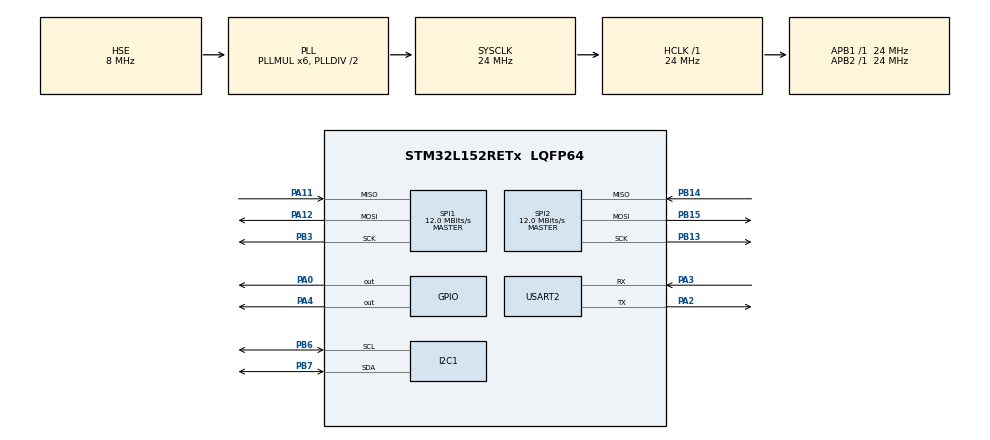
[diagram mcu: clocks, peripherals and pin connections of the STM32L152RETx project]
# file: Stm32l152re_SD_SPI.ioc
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Mcu.Family=STM32L1
Mcu.Name=STM32L152RETx
Mcu.Package=LQFP64
NVIC.PriorityGroup=NVIC_PRIORITYGROUP_4
PA0-WKUP1.Signal=GPIO_Output
PA11.Mode=Full_Duplex_Master
PA11.Signal=SPI1_MISO
PA12.Mode=Full_Duplex_Master
PA12.Signal=SPI1_MOSI
PA13.Mode=Serial_Wire
PA13.Signal=SYS_JTMS-SWDIO
PA14.Mode=Serial_Wire
PA14.Signal=SYS_JTCK-SWCLK
PA2.Mode=Asynchronous
PA2.Signal=USART2_TX
PA3.Mode=Asynchronous
PA3.Signal=USART2_RX
PA4.Signal=GPIO_Output
PB13.Mode=Full_Duplex_Master
PB13.Signal=SPI2_SCK
PB14.Mode=Full_Duplex_Master
PB14.Signal=SPI2_MISO
PB15.Mode=Full_Duplex_Master
PB15.Signal=SPI2_MOSI
PB3.Mode=Full_Duplex_Master
PB3.Signal=SPI1_SCK
PB6.Mode=I2C
PB6.Signal=I2C1_SCL
PB7.Mode=I2C
PB7.Signal=I2C1_SDA
PH0-OSC_IN.Mode=HSE-External-Clock-Source
PH0-OSC_IN.Signal=RCC_OSC_IN
ProjectManager.HeapSize=0x200
ProjectManager.StackSize=0x400
ProjectManager.TargetToolchain=STM32CubeIDE
RCC.48MHZClocksFreq_Value=24000000
RCC.AHBFreq_Value=24000000
RCC.APB1Freq_Value=24000000
RCC.APB1TimFreq_Value=24000000
RCC.APB2Freq_Value=24000000
RCC.APB2TimFreq_Value=24000000
RCC.HCLKFreq_Value=24000000
RCC.HSE_VALUE=8000000
RCC.HSI_VALUE=16000000
RCC.LSE_VALUE=32768
RCC.MSI_VALUE=2097000
RCC.PLLMUL=RCC_PLL_MUL6
RCC.PLLSourceVirtual=RCC_PLLSOURCE_HSE
RCC.SYSCLKFreq_VALUE=24000000
RCC.SYSCLKSource=RCC_SYSCLKSOURCE_PLLCLK
RCC.VCOOutputFreq_Value=48000000
SPI1.CalculateBaudRate=12.0 MBits/s
SPI1.Direction=SPI_DIRECTION_2LINES
SPI1.Mode=SPI_MODE_MASTER
SPI1.VirtualType=VM_MASTER
SPI2.CalculateBaudRate=12.0 MBits/s
SPI2.Direction=SPI_DIRECTION_2LINES
SPI2.Mode=SPI_MODE_MASTER
SPI2.VirtualType=VM_MASTER
USART2.VirtualMode=VM_ASYNC
VP_FATFS_VS_Generic.Mode=User_defined
board=custom

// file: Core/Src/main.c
/* USER CODE BEGIN Header */
/**
  ******************************************************************************
  * @file           : main.c
  * @brief          : Main program body
  ******************************************************************************
  * @attention
  *
  * <h2><center>&copy; Copyright (c) 2020 STMicroelectronics.
  * All rights reserved.</center></h2>
  *
  * This software component is licensed by ST under BSD 3-Clause license,
  * the "License"; You may not use this file except in compliance with the
  * License. You may obtain a copy of the License at:
  *                        opensource.org/licenses/BSD-3-Clause
  *
  ******************************************************************************
  */
/* USER CODE END Header */

#include "main.h"
#include "fatfs.h"

/* USER CODE BEGIN Includes */
#include <string.h>
#include <stdio.h>
#include <stdint.h>
#include "ArduCAM.h"
#include "icm20948.h"
/* USER CODE END Includes */

I2C_HandleTypeDef hi2c1;

SPI_HandleTypeDef hspi1;
SPI_HandleTypeDef hspi2;

UART_HandleTypeDef huart2;

/* USER CODE BEGIN PV */
axises my_gyro;
axises my_accel;
axises my_mag;

FATFS fs;
FATFS *pfs;
FIL fil;
FRESULT fres;
DWORD fre_clust;
uint32_t totalSpace, freeSpace;
char buffer[100];
char bufferRxBuffer[100];
char bufferRx[100];
/* USER CODE END PV */

void SystemClock_Config(void);
static void MX_GPIO_Init(void);
static void MX_SPI1_Init(void);
static void MX_USART2_UART_Init(void);
static void MX_I2C1_Init(void);
static void MX_SPI2_Init(void);
/* USER CODE BEGIN PFP */
int _write(int file, char *data, int len) {
    HAL_UART_Transmit(&huart2, (uint8_t*)data, len, HAL_MAX_DELAY);
    return len;
}
/* USER CODE END PFP */

/* USER CODE BEGIN 0 */
void SD_Select(void) {
    HAL_GPIO_WritePin(GPIOA, GPIO_PIN_0, GPIO_PIN_RESET); // CS low
}

void SD_Deselect(void) {
   HAL_GPIO_WritePin(GPIOA, GPIO_PIN_0, GPIO_PIN_SET); // CS high
}
void capture_and_store_image(uint8_t *buffer, uint32_t buffer_size);
void capture_and_store_video(void);
void setup_sd_card(void);
void capture_and_store_image1(void);
/* USER CODE END 0 */

int main(void)
{
  /* USER CODE BEGIN 1 */
	//uint32_t wbytes; /* File write counts */
  /* USER CODE END 1 */

  /* MCU Configuration--------------------------------------------------------*/

  /* Reset of all peripherals, Initializes the Flash interface and the Systick. */
  HAL_Init();

  /* Configure the system clock */
  SystemClock_Config();

  /* Initialize all configured peripherals */
  MX_GPIO_Init();
  MX_SPI1_Init();
  MX_USART2_UART_Init();
  MX_FATFS_Init();
  MX_I2C1_Init();
  MX_SPI2_Init();
  /* USER CODE BEGIN 2 */
  /* Initialisation de la caméra */
      ArduCAM_Init(OV2640); // Initialisation de la caméra OV2640

      set_format(JPEG);      // Configuration pour capturer en JPEG

      OV2640_set_JPEG_size(OV2640_1600x1200); // Configuration de la taille d'image
      HAL_Delay(1000);
      setup_sd_card();
      uint8_t *buffer = (uint8_t *)malloc(65536); // Augmentation du tampon à 8 Ko
          if (buffer == NULL) {
              printf("Erreur d'allocation mémoire.\n");
              Error_Handler();
          }
          int capture_count = 0;

          HAL_Delay(1000);

      //icm20948_init();
  /* USER CODE END 2 */

  /* Infinite loop */
  while (1)
  {

    /* USER CODE BEGIN 3 */
	  if (capture_count < 100) {
	              capture_and_store_image(buffer, 65536);
	              capture_count++;
	          } else {
	              // Libérer le tampon et reformater la carte SD
	              free(buffer);
	              setup_sd_card();

	              // Réallouer le tampon
	              buffer = (uint8_t *)malloc(65536);
	              if (buffer == NULL) {
	                  printf("Erreur d'allocation mémoire.\n");
	                  Error_Handler();
	              }

	              capture_count = 0; // Réinitialiser le compteur de captures
	            }
	  }

  /* USER CODE END 3 */
}

void SystemClock_Config(void)
{
  RCC_OscInitTypeDef RCC_OscInitStruct = {0};
  RCC_ClkInitTypeDef RCC_ClkInitStruct = {0};

  /** Configure the main internal regulator output voltage
  */
  __HAL_PWR_VOLTAGESCALING_CONFIG(PWR_REGULATOR_VOLTAGE_SCALE1);
  /** Initializes the CPU, AHB and APB busses clocks
  */
  RCC_OscInitStruct.OscillatorType = RCC_OSCILLATORTYPE_HSE;
  RCC_OscInitStruct.HSEState = RCC_HSE_BYPASS;
  RCC_OscInitStruct.PLL.PLLState = RCC_PLL_ON;
  RCC_OscInitStruct.PLL.PLLSource = RCC_PLLSOURCE_HSE;
  RCC_OscInitStruct.PLL.PLLMUL = RCC_PLL_MUL6;
  RCC_OscInitStruct.PLL.PLLDIV = RCC_PLL_DIV2;
  if (HAL_RCC_OscConfig(&RCC_OscInitStruct) != HAL_OK)
  {
    Error_Handler();
  }
  /** Initializes the CPU, AHB and APB busses clocks
  */
  RCC_ClkInitStruct.ClockType = RCC_CLOCKTYPE_HCLK|RCC_CLOCKTYPE_SYSCLK
                              |RCC_CLOCKTYPE_PCLK1|RCC_CLOCKTYPE_PCLK2;
  RCC_ClkInitStruct.SYSCLKSource = RCC_SYSCLKSOURCE_PLLCLK;
  RCC_ClkInitStruct.AHBCLKDivider = RCC_SYSCLK_DIV1;
  RCC_ClkInitStruct.APB1CLKDivider = RCC_HCLK_DIV1;
  RCC_ClkInitStruct.APB2CLKDivider = RCC_HCLK_DIV1;

  if (HAL_RCC_ClockConfig(&RCC_ClkInitStruct, FLASH_LATENCY_1) != HAL_OK)
  {
    Error_Handler();
  }
}

static void MX_I2C1_Init(void)
{

  hi2c1.Instance = I2C1;
  hi2c1.Init.ClockSpeed = 100000;
  hi2c1.Init.DutyCycle = I2C_DUTYCYCLE_2;
  hi2c1.Init.OwnAddress1 = 0;
  hi2c1.Init.AddressingMode = I2C_ADDRESSINGMODE_7BIT;
  hi2c1.Init.DualAddressMode = I2C_DUALADDRESS_DISABLE;
  hi2c1.Init.OwnAddress2 = 0;
  hi2c1.Init.GeneralCallMode = I2C_GENERALCALL_DISABLE;
  hi2c1.Init.NoStretchMode = I2C_NOSTRETCH_DISABLE;
  if (HAL_I2C_Init(&hi2c1) != HAL_OK)
  {
    Error_Handler();
  }

}

static void MX_SPI1_Init(void)
{

  /* SPI1 parameter configuration*/
  hspi1.Instance = SPI1;
  hspi1.Init.Mode = SPI_MODE_MASTER;
  hspi1.Init.Direction = SPI_DIRECTION_2LINES;
  hspi1.Init.DataSize = SPI_DATASIZE_8BIT;
  hspi1.Init.CLKPolarity = SPI_POLARITY_LOW;
  hspi1.Init.CLKPhase = SPI_PHASE_1EDGE;
  hspi1.Init.NSS = SPI_NSS_SOFT;
  hspi1.Init.BaudRatePrescaler = SPI_BAUDRATEPRESCALER_2;
  hspi1.Init.FirstBit = SPI_FIRSTBIT_MSB;
  hspi1.Init.TIMode = SPI_TIMODE_DISABLE;
  hspi1.Init.CRCCalculation = SPI_CRCCALCULATION_DISABLE;
  hspi1.Init.CRCPolynomial = 10;
  if (HAL_SPI_Init(&hspi1) != HAL_OK)
  {
    Error_Handler();
  }

}

static void MX_SPI2_Init(void)
{

  /* SPI2 parameter configuration*/
  hspi2.Instance = SPI2;
  hspi2.Init.Mode = SPI_MODE_MASTER;
  hspi2.Init.Direction = SPI_DIRECTION_2LINES;
  hspi2.Init.DataSize = SPI_DATASIZE_8BIT;
  hspi2.Init.CLKPolarity = SPI_POLARITY_LOW;
  hspi2.Init.CLKPhase = SPI_PHASE_1EDGE;
  hspi2.Init.NSS = SPI_NSS_SOFT;
  hspi2.Init.BaudRatePrescaler = SPI_BAUDRATEPRESCALER_2;
  hspi2.Init.FirstBit = SPI_FIRSTBIT_MSB;
  hspi2.Init.TIMode = SPI_TIMODE_DISABLE;
  hspi2.Init.CRCCalculation = SPI_CRCCALCULATION_DISABLE;
  hspi2.Init.CRCPolynomial = 10;
  if (HAL_SPI_Init(&hspi2) != HAL_OK)
  {
    Error_Handler();
  }

}

static void MX_USART2_UART_Init(void)
{

  huart2.Instance = USART2;
  huart2.Init.BaudRate = 115200;
  huart2.Init.WordLength = UART_WORDLENGTH_8B;
  huart2.Init.StopBits = UART_STOPBITS_1;
  huart2.Init.Parity = UART_PARITY_NONE;
  huart2.Init.Mode = UART_MODE_TX_RX;
  huart2.Init.HwFlowCtl = UART_HWCONTROL_NONE;
  huart2.Init.OverSampling = UART_OVERSAMPLING_16;
  if (HAL_UART_Init(&huart2) != HAL_OK)
  {
    Error_Handler();
  }

}

static void MX_GPIO_Init(void)
{
  GPIO_InitTypeDef GPIO_InitStruct = {0};

  /* GPIO Ports Clock Enable */
  __HAL_RCC_GPIOH_CLK_ENABLE();
  __HAL_RCC_GPIOA_CLK_ENABLE();
  __HAL_RCC_GPIOB_CLK_ENABLE();

  /*Configure GPIO pin Output Level */
  HAL_GPIO_WritePin(GPIOA, GPIO_PIN_0|GPIO_PIN_4, GPIO_PIN_RESET);

  /*Configure GPIO pins : PA0 PA4 */
  GPIO_InitStruct.Pin = GPIO_PIN_0|GPIO_PIN_4;
  GPIO_InitStruct.Mode = GPIO_MODE_OUTPUT_PP;
  GPIO_InitStruct.Pull = GPIO_NOPULL;
  GPIO_InitStruct.Speed = GPIO_SPEED_FREQ_LOW;
  HAL_GPIO_Init(GPIOA, &GPIO_InitStruct);

}

/* USER CODE BEGIN 4 */
void capture_and_store_image1(void) {
    /* Démarrage de la capture */
    start_capture(); // Démarrer la capture

    // Attente de la fin de la capture
    while (!(read_reg(ARDUCHIP_TRIG) & CAP_DONE_MASK)) {
        printf("Capture en cours...\n");
        HAL_Delay(100);
    }

    // Lire la taille de l'image dans la FIFO
    uint32_t length = read_fifo_length();
    printf("Taille de l'image : %lu octets\n", length);

    if (length == 0 || length >= 0x07FFFFF) {
        printf("Erreur : Taille d'image invalide.\n");
        return;
    }

    /* Montage de la carte SD */
    FRESULT fres = f_mount(&fs, "", 1);
    if (fres != FR_OK) {
        printf("Erreur lors du montage de la carte SD : %d\n", fres);
        Error_Handler();
    }

    /* Trouver un nom de fichier unique */
    char filename[32];
    uint16_t file_index = 1;
    while (file_index < 10000) { // Limite à 9999 fichiers
        snprintf(filename, sizeof(filename), "IMG%04d.JPG", file_index); // Générer le nom du fichier
        fres = f_open(&fil, filename, FA_CREATE_NEW | FA_WRITE);
        if (fres == FR_OK) {
            // Fichier créé avec succès
            break;
        } else if (fres == FR_EXIST) {
            // Fichier existe déjà, essayer un autre
            file_index++;
        } else {
            printf("Erreur lors de l'ouverture du fichier : %d\n", fres);
            Error_Handler();
        }
    }

    if (file_index >= 10000) {
        printf("Erreur : Limite de fichiers atteinte.\n");
        return;
    }

    printf("Fichier sélectionné : %s\n", filename);

    /* Préparation pour lecture en mode burst */
    set_fifo_burst();

    printf("Écriture de l'image sur la carte SD...\n");

    // Lecture des données de la FIFO et écriture sur la carte SD
    uint8_t buffer[512]; // Tampon pour les blocs de données
    uint32_t bytes_read = 0;
    while (bytes_read < length) {
        uint32_t chunk_size = (length - bytes_read > sizeof(buffer)) ? sizeof(buffer) : (length - bytes_read);

        // Lire en mode burst directement dans le tampon
        read_fifo_burst(buffer, chunk_size);

        // Écriture du tampon sur la carte SD
        UINT bytes_written;
        fres = f_write(&fil, buffer, chunk_size, &bytes_written);
        if (fres != FR_OK || bytes_written != chunk_size) {
            printf("Erreur lors de l'écriture sur la carte SD : %d\n", fres);
            Error_Handler();
        }

        bytes_read += chunk_size;
    }

    printf("Image écrite avec succès sur la carte SD.\n");

    /* Fermeture du fichier */
    fres = f_close(&fil);
    if (fres != FR_OK) {
        printf("Erreur lors de la fermeture du fichier : %d\n", fres);
        Error_Handler();
    }

    /* Démontage de la carte SD */
    fres = f_mount(NULL, "", 1);
    if (fres != FR_OK) {
        printf("Erreur lors du démontage de la carte SD : %d\n", fres);
        Error_Handler();
    }

    /* Nettoyage de la FIFO */
    flush_fifo();
    clear_fifo_flag();

    HAL_Delay(1000); // Petite pause pour éviter des conflits avec les prochaines captures
    printf("Capture et stockage terminés avec succès.\n");
}

void setup_sd_card(void) {
    SD_Select();
    FRESULT fres = f_mount(&fs, "", 0);
    if (fres != FR_OK) {
        SD_Deselect();
        printf("Erreur lors du montage de la carte SD.\n");
        Error_Handler();
    }
}

void capture_and_store_image(uint8_t *buffer, uint32_t buffer_size) {
    static uint32_t image_counter = 0;

    /* Démarrage de la capture */
    start_capture();
 HAL_Delay(1000);
    // Lecture de la taille de l'image dans la FIFO
    uint32_t length = read_fifo_length();
    if (length == 0) {
    	 printf("Taille est 0\n");
    	          }
    if (length == 0 || length >= 0x07FFFFF) {
        printf("Erreur : Taille d'image invalide.\n");
        return;
    }

    /* Génération d'un nom de fichier unique */
    char filename[20];
    snprintf(filename, sizeof(filename), "IMG%04lu.JPG", image_counter++);

    /* Création d'un fichier pour écrire l'image */
    FRESULT fres = f_open(&fil, filename, FA_CREATE_ALWAYS | FA_WRITE);
    if (fres != FR_OK) {
        printf("Erreur lors de l'ouverture du fichier %s.\n", filename);
        Error_Handler();
    }

    /* Préparation pour lecture en mode burst */
    set_fifo_burst();

    uint32_t bytes_read = 0;

    while (bytes_read < length) {
        uint32_t chunk_size = (length - bytes_read > buffer_size) ? buffer_size : (length - bytes_read);

        // Lecture en mode burst directement dans le tampon
        read_fifo_burst(buffer, chunk_size);

        // Écriture du tampon sur la carte SD
        UINT bytes_written;
        fres = f_write(&fil, buffer, chunk_size, &bytes_written);

        if (fres != FR_OK || bytes_written != chunk_size) {
            printf("Erreur lors de l'écriture sur la carte SD.\n");
            Error_Handler();
        }

        bytes_read += chunk_size;
        HAL_Delay(5);
    }

    /* Fermeture du fichier */
    fres = f_close(&fil);
    if (fres != FR_OK) {
        printf("Erreur lors de la fermeture du fichier %s.\n", filename);
        Error_Handler();
    }

    flush_fifo();
    clear_fifo_flag();

    printf("Image %s écrite avec succès.\n", filename);
}

void capture_and_store_video(void) {
    /* Montage de la carte SD */
    SD_Select();
    FRESULT fres = f_mount(&fs, "", 0);
    SD_Deselect();
    if (fres != FR_OK) {
        printf("Erreur lors du montage de la carte SD.\n");
        Error_Handler();
    }

    /* Création d'un fichier vidéo MJPEG */
    char video_filename[20];
    snprintf(video_filename, sizeof(video_filename), "VID001.MJP");

    SD_Select();
    fres = f_open(&fil, video_filename, FA_CREATE_ALWAYS | FA_WRITE);
    SD_Deselect();
    if (fres != FR_OK) {
        printf("Erreur lors de l'ouverture du fichier : %s\n", video_filename);
        Error_Handler();
    }

    printf("Démarrage de l'enregistrement vidéo...\n");

    /* Variables pour la capture */
    uint8_t buffer[512]; // Tampon pour lecture en blocs
    uint32_t frame_count = 0;
    uint32_t max_frames = 100; // Nombre maximum d'images à capturer
    uint32_t frame_delay = 10; // Délai entre les images (ms)
    UINT bytes_written;        // Variable pour stocker le nombre d'octets écrits

    while (frame_count < max_frames) {
        printf("Capture de l'image %lu...\n", frame_count + 1);

        /* Démarrage de la capture */
        start_capture();

        // Attente de la fin de la capture
        while (!(read_reg(ARDUCHIP_TRIG) & CAP_DONE_MASK)) {
            HAL_Delay(10);
        }

        // Lire la taille de l'image dans la FIFO
        uint32_t length = read_fifo_length();
        if (length == 0 || length >= 0x07FFFFF) {
            printf("Erreur : Taille d'image invalide.\n");
            flush_fifo();
            clear_fifo_flag();
            continue;
        }

        /* Préparation pour lecture en mode burst */
        set_fifo_burst();

        // Lecture des données de la FIFO et écriture dans le fichier MJPEG
        uint32_t bytes_read = 0;
        while (bytes_read < length) {
            uint32_t chunk_size = (length - bytes_read > sizeof(buffer)) ? sizeof(buffer) : (length - bytes_read);

            for (uint32_t i = 0; i < chunk_size; i++) {
                buffer[i] = read_fifo(); // Lire un octet de la FIFO
            }

            // Écriture du tampon dans le fichier
            SD_Select();
            fres = f_write(&fil, buffer, chunk_size, &bytes_written);
            SD_Deselect();

            if (fres != FR_OK || bytes_written != chunk_size) {
                printf("Erreur lors de l'écriture de l'image %lu. Code d'erreur : %d\n", frame_count + 1, fres);
                flush_fifo();
                clear_fifo_flag();
                Error_Handler();
            }

            bytes_read += chunk_size;
        }

        /* Ajout d'un marqueur de fin de frame (facultatif) */
        const uint8_t end_marker[2] = {0xFF, 0xD9}; // Marqueur de fin JPEG
        SD_Select();
        fres = f_write(&fil, end_marker, sizeof(end_marker), &bytes_written);
        SD_Deselect();
        if (fres != FR_OK || bytes_written != sizeof(end_marker)) {
            printf("Erreur lors de l'ajout du marqueur de fin à l'image %lu. Code d'erreur : %d\n", frame_count + 1, fres);
            flush_fifo();
            clear_fifo_flag();
            Error_Handler();
        }

        printf("Image %lu écrite avec succès.\n", frame_count + 1);

        /* Nettoyage de la FIFO */
        flush_fifo();
        clear_fifo_flag();

        frame_count++;
        HAL_Delay(frame_delay); // Délai entre les captures
    }

    printf("Enregistrement vidéo terminé.\n");

    /* Fermeture du fichier */
    SD_Select();
    if (f_close(&fil) != FR_OK) {
        printf("Erreur lors de la fermeture du fichier vidéo.\n");
        Error_Handler();
    }
    SD_Deselect();

    /* Démontage de la carte SD */
    SD_Select();
    if (f_mount(NULL, "", 1) != FR_OK) {
        printf("Erreur lors du démontage de la carte SD.\n");
        Error_Handler();
    }
    SD_Deselect();

    HAL_Delay(8000);
}

/* Fonction pour créer un fichier texte */
FRESULT create_text_file(const char *filename) {
    FIL fil;        // Objet fichier
    FRESULT fres;   // Code de retour FatFs

    // Monter le système de fichiers
    fres = f_mount(&fs, "", 0);
    if (fres != FR_OK) {
        printf("Erreur lors du montage du système de fichiers.\n");
        return fres;
    }

    // Créer un fichier vide
    fres = f_open(&fil, filename, FA_CREATE_ALWAYS | FA_WRITE);
    if (fres != FR_OK) {
        printf("Erreur lors de la création du fichier %s.\n", filename);
        return fres;
    }

    // Fermer le fichier
    fres = f_close(&fil);
    if (fres != FR_OK) {
        printf("Erreur lors de la fermeture du fichier %s.\n", filename);
    }

    printf("Fichier %s créé avec succès.\n", filename);
    return fres;
}

/* USER CODE END 4 */

void Error_Handler(void)
{
}

/************************ (C) COPYRIGHT STMicroelectronics *****END OF FILE****/
